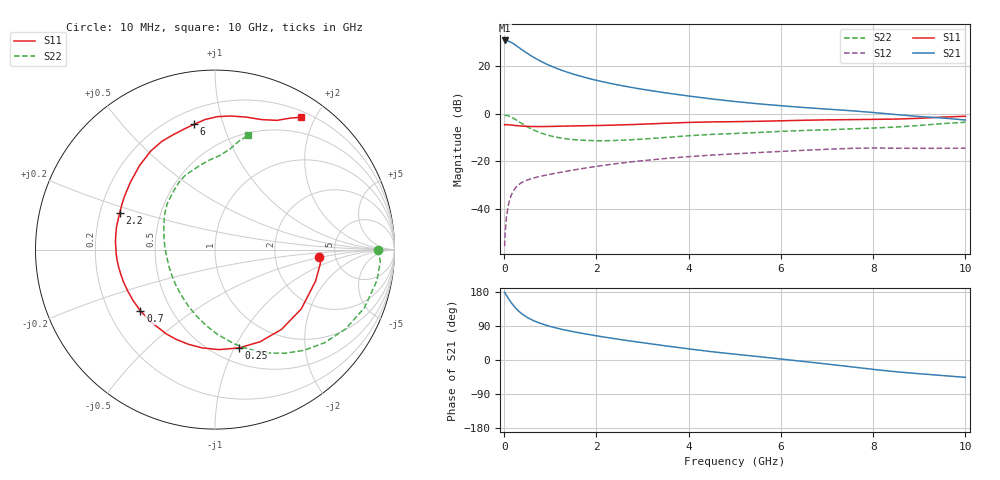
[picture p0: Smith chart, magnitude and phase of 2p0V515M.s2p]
! (c) 2009  Infineon Technologies AG, Munich
! Infineon Technologies  Discrete & RF Semiconductors
! BFP420
! VCE =  0.5 V,  IC =  15 mA
! Common Emitter S-Parameters:  Nov 2009
# GHz  S  MA  R  50
!  f  S11  S21  S12  S22
! GHz  MAG  ANG  MAG  ANG  MAG  ANG  MAG  ANG
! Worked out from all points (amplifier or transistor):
!   46 points, 10 MHz to 10 GHz, reference 50 ohm
!   highest |S21| = 30.6 dB at 10 MHz (marker M1)
!   |S21| within 3 dB of that: start of sweep to 323.2 MHz
!   unconditionally stable (mu >= 1): 1.86 GHz to end of sweep
!   at 300 MHz: K = 0.28, MSG = 28.9 dB, |S12| = -29.9 dB
!   at 1.7 GHz: K = 0.96, MSG = 19.2 dB, |S12| = -22.9 dB
!   at 10 GHz: K = 1.05, MAG = 4.6 dB, |S12| = -14.4 dB
!   lowest NFmin = 1.06 dB at 900 MHz
!   S11 on the Smith chart (normalised r, x): 10 MHz: 3.71, -0.43; 250 MHz: 0.65, -1.04; 700 MHz: 0.34, -0.32; 2.2 GHz: 0.28, +0.17; 6 GHz: 0.29, +0.81; 10 GHz: 0.28, +1.81
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0.01  0.5803 -3.8  33.81 179.2  0.0017 111.6  0.9091 0.0
0.05  0.5873 -17.3  33.45 170.4  0.007 83.0  0.919 -10.7
0.1  0.5834 -34.5  32.58 160.8  0.0135 76.2  0.8934 -21.3
0.15  0.5788 -50.1  30.87 151.9  0.0194 69.9  0.8511 -31.4
0.2  0.5716 -64.0  28.93 144.0  0.0243 64.4  0.8009 -40.4
0.25  0.5637 -76.4  26.8 136.9  0.0285 59.8  0.7492 -48.5
0.3  0.5576 -87.7  24.83 130.7  0.0319 56.0  0.6968 -56.0
0.35  0.5523 -97.5  22.95 125.3  0.0348 52.9  0.6492 -62.5
0.45  0.5449 -113.5  19.64 116.3  0.0392 48.5  0.5663 -74.0
0.6  0.5382 -131.5  15.84 105.9  0.0441 44.6  0.4738 -88.1
0.7  0.5376 -140.7  13.91 100.6  0.0468 43.2  0.4286 -96.1
0.9  0.5382 -154.7  11.09 92.1  0.0517 41.8  0.3656 -110.0
1.1  0.5424 -165.4  9.141 85.4  0.0565 41.2  0.3263 -122.1
1.4  0.551 -177.6  7.183 77.1  0.0638 40.6  0.294 -138.0
1.7  0.558 172.6  5.893 70.2  0.0713 39.8  0.2782 -151.3
2.2  0.569 159.2  4.496 59.9  0.0842 37.7  0.2714 -169.9
3.5  0.6293 131.9  2.718 37.3  0.1155 28.3  0.3179 153.9
5.5  0.6915 105.1  1.608 9.1  0.1534 11.5  0.4033 124.1
6  0.7082 99.4  1.464 2.6  0.1622 7.4  0.4258 118.1
7  0.7409 88.9  1.243 -10.7  0.18 -2.2  0.4599 105.6
8.5  0.7697 70.2  0.955 -31.1  0.1895 -18.9  0.5252 87.0
10  0.8801 56.9  0.736 -45.7  0.1897 -29.3  0.6618 74.0
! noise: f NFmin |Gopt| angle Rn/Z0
0.9  1.06  0.09  -152  0.13
1.8  1.36  0.18  -147  0.12
2.4  1.49  0.17  -148  0.14
3  1.53  0.25  -138  0.14
4  1.67  0.38  -119  0.2
5  2.14  0.44  -103  0.32
6  2.48  0.5  -88  0.47
